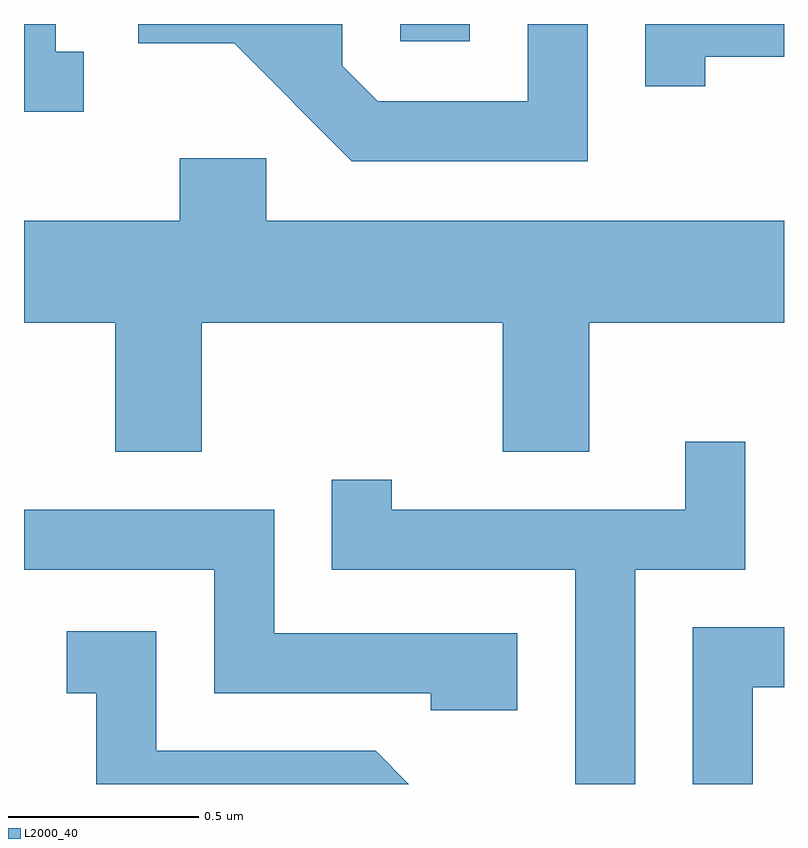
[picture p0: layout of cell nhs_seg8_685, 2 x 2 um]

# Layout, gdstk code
import gdstk
lib = gdstk.Library(unit=1e-6, precision=1e-09)
def R(c, l, rs):  # rectangles x0, y0, x1, y1
    for r in rs: c.add(gdstk.rectangle(r[:2], r[2:], *l))
def P(c, l, *ps):  # polygons
    for p in ps: c.add(gdstk.Polygon(p, *l))
L2000_40 = (2000, 40)

nhs_seg8_685 = lib.new_cell('nhs_seg8_685')
R(nhs_seg8_685, L2000_40, [(191.601,1808.296,191.784,1808.342)])
P(nhs_seg8_685, L2000_40, [(190.768,1808.269),(190.694,1808.269),(190.694,1808.342),(190.611,1808.342),(190.611,1808.111),(190.768,1808.111)],
  [(192.094,1808.342),(191.936,1808.342),(191.936,1808.139),(191.542,1808.139),(191.449,1808.232),(191.449,1808.342),(190.911,1808.342),(190.911,1808.291),(191.164,1808.291),(191.474,1807.981),(192.094,1807.981)],
  [(192.404,1808.256),(192.611,1808.256),(192.611,1808.342),(192.246,1808.342),(192.246,1808.178),(192.404,1808.178)],
  [(191.079,1807.556),(191.871,1807.556),(191.871,1807.216),(192.099,1807.216),(192.099,1807.556),(192.611,1807.556),(192.611,1807.824),(191.249,1807.824),(191.249,1807.989),(191.021,1807.989),(191.021,1807.824),(190.611,1807.824),(190.611,1807.556),(190.851,1807.556),(190.851,1807.216),(191.079,1807.216)],
  [(192.219,1806.906),(192.509,1806.906),(192.509,1807.243),(192.351,1807.243),(192.351,1807.064),(191.579,1807.064),(191.579,1807.143),(191.421,1807.143),(191.421,1806.906),(192.061,1806.906),(192.061,1806.342),(192.219,1806.342)],
  [(191.909,1806.739),(191.269,1806.739),(191.269,1807.064),(190.611,1807.064),(190.611,1806.906),(191.111,1806.906),(191.111,1806.581),(191.681,1806.581),(191.681,1806.536),(191.909,1806.536)],
  [(192.529,1806.596),(192.611,1806.596),(192.611,1806.754),(192.371,1806.754),(192.371,1806.342),(192.529,1806.342)],
  [(191.537,1806.429),(190.959,1806.429),(190.959,1806.744),(190.723,1806.744),(190.723,1806.581),(190.801,1806.581),(190.801,1806.342),(191.624,1806.342)])

lib.write_gds('nhs_seg8_685.gds')
